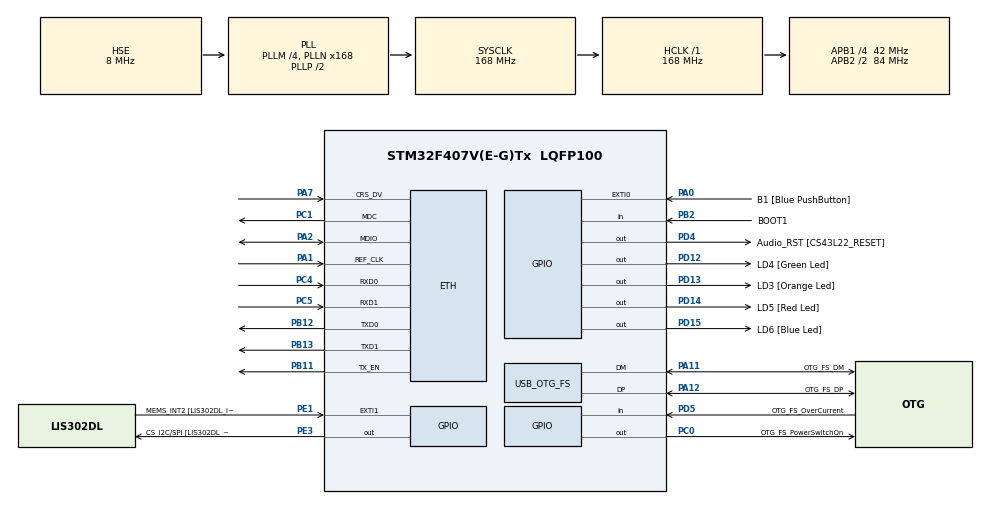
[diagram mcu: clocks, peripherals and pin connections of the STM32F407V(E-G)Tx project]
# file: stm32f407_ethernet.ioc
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ETH.MediaInterface=HAL_ETH_RMII_MODE
LWIP.BSP.number=1
LWIP.GATEWAY_ADDRESS=192.168.123.002
LWIP.IP_ADDRESS=192.168.123.121
LWIP.LWIP_DHCP=0
LWIP.NETMASK_ADDRESS=255.255.255.000
LWIP.Version=v2.1.2_Cube
LWIP0.BSP.STBoard=false
LWIP0.BSP.api=BSP_COMPONENT_DRIVER
LWIP0.BSP.component=LAN8742
LWIP0.BSP.instance=LAN8742
LWIP0.BSP.name=Driver_PHY
LWIP0.BSP.semaphore=S_LAN8742
LWIP0.BSP.solution=LAN8742
Mcu.Family=STM32F4
Mcu.Name=STM32F407V(E-G)Tx
Mcu.Package=LQFP100
NVIC.OTG_FS_IRQn=true\:0\:0\:false\:false\:true\:false\:true\:true
NVIC.PriorityGroup=NVIC_PRIORITYGROUP_0
PA0-WKUP.GPIO_Label=B1 [Blue PushButton]
PA0-WKUP.Signal=GPXTI0
PA1.Mode=RMII
PA1.Signal=ETH_REF_CLK
PA10.GPIO_Label=OTG_FS_ID
PA10.GPIO_Mode=GPIO_MODE_AF_PP
PA10.GPIO_PuPd=GPIO_NOPULL
PA10.GPIO_Speed=GPIO_SPEED_FREQ_LOW
PA10.Signal=USB_OTG_FS_ID
PA11.GPIO_Label=OTG_FS_DM
PA11.GPIO_Mode=GPIO_MODE_AF_PP
PA11.GPIO_PuPd=GPIO_NOPULL
PA11.GPIO_Speed=GPIO_SPEED_FREQ_LOW
PA11.Mode=Device_Only
PA11.Signal=USB_OTG_FS_DM
PA12.GPIO_Label=OTG_FS_DP
PA12.GPIO_Mode=GPIO_MODE_AF_PP
PA12.GPIO_PuPd=GPIO_NOPULL
PA12.GPIO_Speed=GPIO_SPEED_FREQ_LOW
PA12.Mode=Device_Only
PA12.Signal=USB_OTG_FS_DP
PA13.GPIO_Label=SWDIO
PA13.Mode=Serial_Wire
PA13.Signal=SYS_JTMS-SWDIO
PA14.GPIO_Label=SWCLK
PA14.Mode=Serial_Wire
PA14.Signal=SYS_JTCK-SWCLK
PA2.Mode=RMII
PA2.Signal=ETH_MDIO
PA4.GPIO_Label=I2S3_WS [CS43L22_LRCK]
PA4.GPIO_Mode=GPIO_MODE_AF_PP
PA4.GPIO_PuPd=GPIO_NOPULL
PA4.GPIO_Speed=GPIO_SPEED_FREQ_LOW
PA4.Signal=I2S3_WS
PA5.GPIO_Label=SPI1_SCK [LIS302DL_SCL/SPC]
PA5.GPIO_Mode=GPIO_MODE_AF_PP
PA5.GPIO_PuPd=GPIO_NOPULL
PA5.GPIO_Speed=GPIO_SPEED_FREQ_LOW
PA5.Signal=SPI1_SCK
PA6.GPIO_Label=SPI1_MISO [LIS302DL_SDO]
PA6.GPIO_Mode=GPIO_MODE_AF_PP
PA6.GPIO_PuPd=GPIO_NOPULL
PA6.GPIO_Speed=GPIO_SPEED_FREQ_LOW
PA6.Signal=SPI1_MISO
PA7.Mode=RMII
PA7.Signal=ETH_CRS_DV
PA9.GPIO_Label=VBUS_FS
PA9.GPIO_Mode=GPIO_MODE_INPUT
PA9.GPIO_PuPd=GPIO_NOPULL
PA9.Signal=USB_OTG_FS_VBUS
PB10.GPIO_Label=CLK_IN [MP45DT02_CLK]
PB10.GPIO_Mode=GPIO_MODE_AF_PP
PB10.GPIO_PuPd=GPIO_NOPULL
PB10.GPIO_Speed=GPIO_SPEED_FREQ_LOW
PB10.Signal=I2S2_CK
PB11.Mode=RMII
PB11.Signal=ETH_TX_EN
PB12.Mode=RMII
PB12.Signal=ETH_TXD0
PB13.Mode=RMII
PB13.Signal=ETH_TXD1
PB2.GPIO_Label=BOOT1
PB2.GPIO_Mode=GPIO_MODE_INPUT
PB2.GPIO_PuPd=GPIO_NOPULL
PB2.Signal=GPIO_Input
PB3.GPIO_Label=SWO
PB3.Signal=SYS_JTDO-SWO
PB6.GPIO_Label=Audio_SCL [CS43L22_SCL]
PB6.GPIO_Mode=GPIO_MODE_AF_OD
PB6.GPIO_PuPd=GPIO_NOPULL
PB6.GPIO_Speed=GPIO_SPEED_FREQ_LOW
PB6.Signal=I2C1_SCL
PB9.GPIO_Label=Audio_SDA [CS43L22_SDA]
PB9.GPIO_Mode=GPIO_MODE_AF_OD
PB9.GPIO_PuPd=GPIO_NOPULL
PB9.GPIO_Speed=GPIO_SPEED_FREQ_LOW
PB9.Signal=I2C1_SDA
PC0.GPIO_Label=OTG_FS_PowerSwitchOn
PC0.GPIO_PuPd=GPIO_NOPULL
PC0.GPIO_Speed=GPIO_SPEED_FREQ_LOW
PC0.PinState=GPIO_PIN_SET
PC0.Signal=GPIO_Output
PC1.Mode=RMII
PC1.Signal=ETH_MDC
PC10.GPIO_Label=I2S3_SCK [CS43L22_SCLK]
PC10.GPIO_Mode=GPIO_MODE_AF_PP
PC10.GPIO_PuPd=GPIO_NOPULL
PC10.GPIO_Speed=GPIO_SPEED_FREQ_LOW
PC10.Signal=I2S3_CK
PC12.GPIO_Label=I2S3_SD [CS43L22_SDIN]
PC12.GPIO_Mode=GPIO_MODE_AF_PP
PC12.GPIO_PuPd=GPIO_NOPULL
PC12.GPIO_Speed=GPIO_SPEED_FREQ_LOW
PC12.Signal=I2S3_SD
PC14-OSC32_IN.GPIO_Label=PC14-OSC32_IN
PC14-OSC32_IN.Signal=RCC_OSC32_IN
PC15-OSC32_OUT.GPIO_Label=PC15-OSC32_OUT
PC15-OSC32_OUT.Signal=RCC_OSC32_OUT
PC3.GPIO_Label=PDM_OUT [MP45DT02_DOUT]
PC3.GPIO_Mode=GPIO_MODE_AF_PP
PC3.GPIO_PuPd=GPIO_NOPULL
PC3.GPIO_Speed=GPIO_SPEED_FREQ_LOW
PC3.Signal=I2S2_SD
PC4.Mode=RMII
PC4.Signal=ETH_RXD0
PC5.Mode=RMII
PC5.Signal=ETH_RXD1
PC7.GPIO_Label=I2S3_MCK [CS43L22_MCLK]
PC7.GPIO_Mode=GPIO_MODE_AF_PP
PC7.GPIO_PuPd=GPIO_NOPULL
PC7.GPIO_Speed=GPIO_SPEED_FREQ_LOW
PC7.Signal=I2S3_MCK
PD12.GPIO_Label=LD4 [Green Led]
PD12.GPIO_PuPd=GPIO_NOPULL
PD12.GPIO_Speed=GPIO_SPEED_FREQ_LOW
PD12.Signal=GPIO_Output
PD13.GPIO_Label=LD3 [Orange Led]
PD13.GPIO_PuPd=GPIO_NOPULL
PD13.GPIO_Speed=GPIO_SPEED_FREQ_LOW
PD13.Signal=GPIO_Output
PD14.GPIO_Label=LD5 [Red Led]
PD14.GPIO_PuPd=GPIO_NOPULL
PD14.GPIO_Speed=GPIO_SPEED_FREQ_LOW
PD14.Signal=GPIO_Output
PD15.GPIO_Label=LD6 [Blue Led]
PD15.GPIO_PuPd=GPIO_NOPULL
PD15.GPIO_Speed=GPIO_SPEED_FREQ_LOW
PD15.Signal=GPIO_Output
PD4.GPIO_Label=Audio_RST [CS43L22_RESET]
PD4.GPIO_PuPd=GPIO_NOPULL
PD4.GPIO_Speed=GPIO_SPEED_FREQ_LOW
PD4.Signal=GPIO_Output
PD5.GPIO_Label=OTG_FS_OverCurrent
PD5.GPIO_Mode=GPIO_MODE_INPUT
PD5.GPIO_PuPd=GPIO_NOPULL
PD5.Signal=GPIO_Input
PE1.GPIO_Label=MEMS_INT2 [LIS302DL_INT2]
PE1.GPIO_ModeDefaultEXTI=GPIO_MODE_EVT_RISING
PE1.GPIO_PuPd=GPIO_NOPULL
PE1.Signal=GPXTI1
PE3.GPIO_Label=CS_I2C/SPI [LIS302DL_CS_I2C/SPI]
PE3.GPIO_PuPd=GPIO_NOPULL
PE3.GPIO_Speed=GPIO_SPEED_FREQ_LOW
PE3.Signal=GPIO_Output
PH0-OSC_IN.GPIO_Label=PH0-OSC_IN
PH0-OSC_IN.Mode=HSE-External-Oscillator
PH0-OSC_IN.Signal=RCC_OSC_IN
PH1-OSC_OUT.GPIO_Label=PH1-OSC_OUT
PH1-OSC_OUT.Mode=HSE-External-Oscillator
PH1-OSC_OUT.Signal=RCC_OSC_OUT
ProjectManager.HeapSize=0x200
ProjectManager.StackSize=0x400
ProjectManager.TargetToolchain=CMake
RCC.48MHZClocksFreq_Value=48000000
RCC.AHBFreq_Value=168000000
RCC.APB1CLKDivider=RCC_HCLK_DIV4
RCC.APB1Freq_Value=42000000
RCC.APB1TimFreq_Value=84000000
RCC.APB2CLKDivider=RCC_HCLK_DIV2
RCC.APB2Freq_Value=84000000
RCC.APB2TimFreq_Value=168000000
RCC.CortexFreq_Value=168000000
RCC.HCLKFreq_Value=168000000
RCC.HSE_VALUE=8000000
RCC.HSI_VALUE=16000000
RCC.LSE_VALUE=32768
RCC.PLLM=4
RCC.PLLN=168
RCC.PLLQ=7
RCC.SYSCLKFreq_VALUE=168000000
RCC.SYSCLKSource=RCC_SYSCLKSOURCE_PLLCLK
RCC.VCOOutputFreq_Value=336000000
USB_DEVICE.CLASS_NAME_FS=CDC
USB_DEVICE.VirtualMode-CDC_FS=Cdc
USB_DEVICE.VirtualModeFS=Cdc_FS
USB_OTG_FS.VirtualMode=Device_Only
VP_LWIP_VS_Enabled.Mode=Enabled
VP_USB_DEVICE_VS_USB_DEVICE_CDC_FS.Mode=CDC_FS
board=STM32F407G-DISC1

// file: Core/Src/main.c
/* USER CODE BEGIN Header */
/**
  ******************************************************************************
  * @file           : main.c
  * @brief          : Main program body
  ******************************************************************************
  * @attention
  *
  * Copyright (c) 2026 STMicroelectronics.
  * All rights reserved.
  *
  * This software is licensed under terms that can be found in the LICENSE file
  * in the root directory of this software component.
  * If no LICENSE file comes with this software, it is provided AS-IS.
  *
  ******************************************************************************
  */
/* USER CODE END Header */
#include "main.h"
#include "usb_device.h"
#include "gpio.h"

/* USER CODE BEGIN Includes */
#include "lwip.h"
#include "lwip/udp.h"
#include "lwip/pbuf.h"
#include "lwip/ip_addr.h"
#include "string.h"
#include "usbd_cdc_if.h"

/* USER CODE END Includes */

/* USER CODE BEGIN PV */
struct udp_pcb *upcb;
struct pbuf *p;
ip_addr_t my_ip;
ip_addr_t dest_ip;

/* USER CODE END PV */

void SystemClock_Config(void);

/* USER CODE BEGIN 0 */

// see https://shawnhymel.com/1873/how-to-use-printf-on-stm32/
#include <reent.h>

_ssize_t _write_r(struct _reent* r, int fd, const void * ptr, size_t len)
{
  (void)r;
  (void)fd;
  USBD_StatusTypeDef sts;
  uint16_t retryCnt = 3;
  do{
    sts = CDC_Transmit_FS((uint8_t*)ptr, len);
    HAL_Delay(5);
    retryCnt--;
  } while ((sts == USBD_BUSY) && retryCnt);
  // if(sts != USBD_OK)
  //   return -1;
  // else
  //   return len;
  return len;
}

uint8_t UsbAppBuf[UsbAppBufLen];
uint16_t UsbAppBufPt = 0;
uint16_t UsbAppBufReadPt = 0;
_ssize_t _read_r(struct _reent* r, int fd, void * ptr, size_t len)
{
  (void)r;
  if (fd != 0) return -1; // nur stdin

  uint8_t len_received = 0;
  uint8_t * ptr_ui8 = (uint8_t*)ptr;
  while(len_received < len)
  {
    if(UsbAppBufReadPt != UsbAppBufPt)
    {
      if((UsbAppBuf[UsbAppBufReadPt] == '\r') || (UsbAppBuf[UsbAppBufReadPt] == '\n'))
      {
        *ptr_ui8 = '\0';
        return len_received;
      }
      *ptr_ui8 = UsbAppBuf[UsbAppBufReadPt];
      ptr_ui8++;
      UsbAppBufReadPt++;
      len_received++;
    }
  }
  return len;
}

err_t low_level_output_wrapped(struct netif *netif, struct pbuf *p);

#define lenData 1000
/* USER CODE END 0 */

int main(void)
{

  /* MCU Configuration--------------------------------------------------------*/

  /* Reset of all peripherals, Initializes the Flash interface and the Systick. */
  HAL_Init();

  /* Configure the system clock */
  SystemClock_Config();

  /* Initialize all configured peripherals */
  MX_GPIO_Init();
  MX_USB_DEVICE_Init();
  /* USER CODE BEGIN 2 */
  HAL_Delay(500);
  setvbuf(stdout, NULL, _IONBF, 0); // buffering off, see https://shawnhymel.com/1873/how-to-use-printf-on-stm32/

  // unsigned char d[] = "Test RAW write auf USB Schnittstelle\n";
  // CDC_Transmit_FS(d, sizeof(d));

  // HAL_Delay(1000);
  // printf("Paused. Press enter to continue...\n");
  // float dummy;
  // scanf("%f", &dummy);

  // printf("Test von print() auf USB-Schnittstelle: %f\n", 1.23f);
  // float num;
  // printf("Zahl eingeben und Enter druecken: ");
  // scanf("%f", &num);
  // printf("\nZahl die eingegeben wurde: %f\n", num);
  // HAL_Delay(5000);

  MX_LWIP_Init();

  char data[lenData];
  int idx;
  for(idx = 0; idx < lenData; idx++)
  {
    sprintf(&data[idx], "%c", (char)idx);
  }
  /* USER CODE END 2 */

  /* Infinite loop */
  while (1)
  {

    /* USER CODE BEGIN 3 */
    printf(".");
    // HAL_Delay(1000);
    MX_LWIP_Process();

    /* UDP Transfer */
    netif_list[0].linkoutput = low_level_output_wrapped;
    if(!netif_is_link_up(&netif_list[0]))
    {
      printf("Link down, TX skipped\n");
    }
    else
    {
      upcb = udp_new();
      if (upcb != NULL)
      {
        IP4_ADDR(&my_ip, 192,168,123,121);
        err_t udpErr = udp_bind(upcb, &my_ip, 65100);

        if(udpErr == ERR_OK)
        {
          p = pbuf_alloc(PBUF_TRANSPORT, sizeof(data), PBUF_RAM);

          if (p != NULL) {
            memcpy(p->payload, data, sizeof(data));
            IP4_ADDR(&dest_ip, 192,168,123,2);
            udp_sendto(upcb, p, &dest_ip, 5005);
            pbuf_free(p);
          }
          else{
            printf("Error: at pbuf_alloc\n");
          }
        }
        else{
          printf("Error: at udp_bind\n");
        }
        udp_remove(upcb);
      }
      else{
        printf("Error: at udp_new\n");
      }
    }
  }

  /* USER CODE END 3 */
}

void SystemClock_Config(void)
{
  RCC_OscInitTypeDef RCC_OscInitStruct = {0};
  RCC_ClkInitTypeDef RCC_ClkInitStruct = {0};

  /** Configure the main internal regulator output voltage
  */
  __HAL_RCC_PWR_CLK_ENABLE();
  __HAL_PWR_VOLTAGESCALING_CONFIG(PWR_REGULATOR_VOLTAGE_SCALE1);

  /** Initializes the RCC Oscillators according to the specified parameters
  * in the RCC_OscInitTypeDef structure.
  */
  RCC_OscInitStruct.OscillatorType = RCC_OSCILLATORTYPE_HSE;
  RCC_OscInitStruct.HSEState = RCC_HSE_ON;
  RCC_OscInitStruct.PLL.PLLState = RCC_PLL_ON;
  RCC_OscInitStruct.PLL.PLLSource = RCC_PLLSOURCE_HSE;
  RCC_OscInitStruct.PLL.PLLM = 4;
  RCC_OscInitStruct.PLL.PLLN = 168;
  RCC_OscInitStruct.PLL.PLLP = RCC_PLLP_DIV2;
  RCC_OscInitStruct.PLL.PLLQ = 7;
  if (HAL_RCC_OscConfig(&RCC_OscInitStruct) != HAL_OK)
  {
    Error_Handler();
  }

  /** Initializes the CPU, AHB and APB buses clocks
  */
  RCC_ClkInitStruct.ClockType = RCC_CLOCKTYPE_HCLK|RCC_CLOCKTYPE_SYSCLK
                              |RCC_CLOCKTYPE_PCLK1|RCC_CLOCKTYPE_PCLK2;
  RCC_ClkInitStruct.SYSCLKSource = RCC_SYSCLKSOURCE_PLLCLK;
  RCC_ClkInitStruct.AHBCLKDivider = RCC_SYSCLK_DIV1;
  RCC_ClkInitStruct.APB1CLKDivider = RCC_HCLK_DIV4;
  RCC_ClkInitStruct.APB2CLKDivider = RCC_HCLK_DIV2;

  if (HAL_RCC_ClockConfig(&RCC_ClkInitStruct, FLASH_LATENCY_5) != HAL_OK)
  {
    Error_Handler();
  }
}

void Error_Handler(void)
{
  __disable_irq();
  while (1)
  {
  }
}
